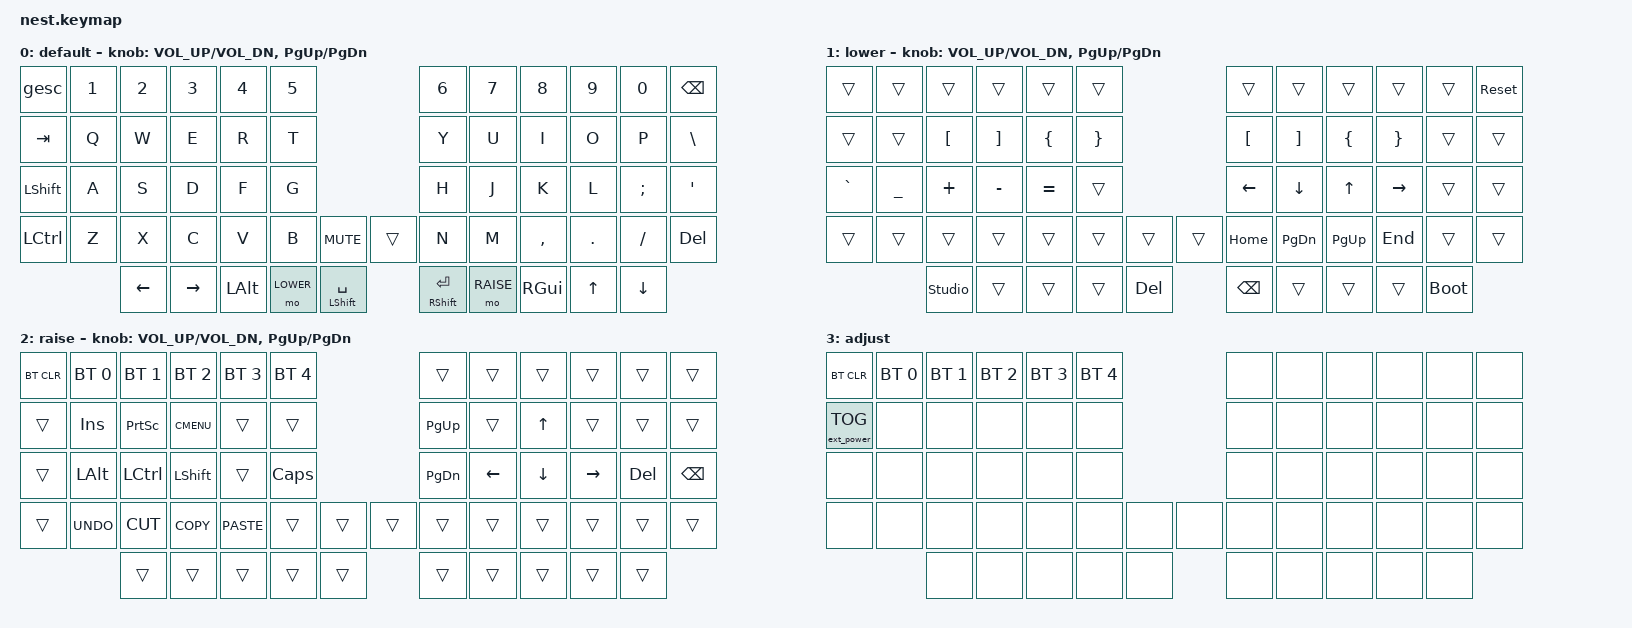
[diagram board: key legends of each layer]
/*
 * Copyright (c) 2020 The ZMK Contributors
 *
 * SPDX-License-Identifier: MIT
 */

#include <behaviors.dtsi>
#include <dt-bindings/zmk/keys.h>
#include <dt-bindings/zmk/bt.h>
#include <dt-bindings/zmk/rgb.h>
#include <dt-bindings/zmk/ext_power.h>

#define BASE 0
#define LOWER 1
#define RAISE 2
#define ADJUST 3

/ {
    behaviors {
        gesc: grave_escape {
            compatible = "zmk,behavior-mod-morph";
            #binding-cells = <0>;
            bindings = <&kp ESC>, <&kp GRAVE>;
            mods = <(MOD_LGUI|MOD_LSFT|MOD_RGUI|MOD_RSFT)>;
        };
    };

    // Activate ADJUST layer by pressing raise and lower
    conditional_layers {
        compatible = "zmk,conditional-layers";
        adjust_layer {
            if-layers = <LOWER RAISE>;
            then-layer = <ADJUST>;
        };
    };

    keymap {
        compatible = "zmk,keymap";

        default_layer {
            display-name = "default";
// ------------------------------------------------------------------------------------------------------------
// |  ESC  |  1  |  2  |  3   |  4   |  5   |                   |  6   |  7    |  8    |  9   |   0   | BKSPC |
// |  TAB  |  Q  |  W  |  E   |  R   |  T   |                   |  Y   |  U    |  I    |  O   |   P   |   \   |
// | SHIFT |  A  |  S  |  D   |  F   |  G   |                   |  H   |  J    |  K    |  L   |   ;   |   '   |
// | CTRL  |  Z  |  X  |  C   |  V   |  B   |  MUTE  |  |       |  N   |  M    |  ,    |  .   |   /   |  DEL  |
//               | LEFT| RIGHT| ALT  | LOWER|  SPACE |  | ENTER | RAISE|  GUI  |  UP   | DOWN |
            bindings = <
&gesc     &kp N1 &kp N2   &kp N3   &kp N4    &kp N5                           &kp N6 &kp N7    &kp N8    &kp N9   &kp N0   &kp BSPC
&kp TAB   &kp Q  &kp W    &kp E    &kp R     &kp T                            &kp Y  &kp U     &kp I     &kp O    &kp P    &kp BSLH
&kp LSHFT &kp A  &kp S    &kp D    &kp F     &kp G                            &kp H  &kp J     &kp K     &kp L    &kp SEMI &kp SQT
&kp LCTRL &kp Z  &kp X    &kp C    &kp V     &kp B      &kp C_MUTE &trans     &kp N  &kp M     &kp COMMA &kp DOT  &kp FSLH &kp DEL
                 &kp LEFT &kp RIGHT &kp LALT &mo LOWER  &mt LSHFT SPACE  &mt RSHFT RET  &mo RAISE  &kp RGUI &kp UP   &kp DOWN
            >;

            sensor-bindings = <&inc_dec_kp C_VOL_UP C_VOL_DN &inc_dec_kp PG_UP PG_DN>;
        };

        lower_layer {
            display-name = "lower";
// ------------------------------------------------------------------------------------------------------------
// |       |     |     |      |      |      |                   |      |       |       |      |       | RESET |
// |       |     |  [  |  ]   |  {   |  }   |                   |  [   |  ]    |  {    |  }   |       |       |
// |   `   |  _  |  +  |  -   |  =   |      |                   | LEFT | DOWN  |   UP  | RIGHT|       |       |
// |       |     |     |      |      |      |        |  |       | HOME | PGDN  | PGUP  |  END |       |       |
//               | LOCK|      |      |      |   DEL  |  | BKSPC |      |       |       | BOOT |
            bindings = <
&trans         &trans          &trans          &trans          &trans          &trans                             &trans          &trans          &trans   &trans    &trans &sys_reset
&trans         &trans          &kp LBKT        &kp RBKT        &kp LBRC        &kp RBRC                           &kp LBKT        &kp RBKT        &kp LBRC &kp RBRC  &trans &trans
&kp GRAVE      &kp UNDER       &kp PLUS        &kp MINUS       &kp EQUAL       &trans                             &kp LEFT        &kp DOWN        &kp UP   &kp RIGHT &trans &trans
&trans         &trans          &trans          &trans          &trans          &trans          &trans   &trans    &kp HOME        &kp PG_DN       &kp PG_UP &kp END  &trans &trans
                               &studio_unlock  &trans          &trans          &trans          &kp DEL  &kp BSPC  &trans          &trans          &trans   &bootloader
            >;

            sensor-bindings = <&inc_dec_kp C_VOL_UP C_VOL_DN &inc_dec_kp PG_UP PG_DN>;
        };

        raise_layer {
            display-name = "raise";
// ------------------------------------------------------------------------------------------------------------
// | BTCLR | BT1  | BT2  |  BT3  |  BT4  |  BT5 |                |      |      |       |      |       |       |
// |       | INS  | PSCR | GUI   |       |      |                | PGUP |      |   ^   |      |       |       |
// |       | ALT  | CTRL | SHIFT |       | CAPS |                | PGDN |   <- |   v   |  ->  |  DEL  | BKSPC |
// |       | UNDO | CUT  | COPY  | PASTE |      |      |  |      |      |      |       |      |       |       |
//                |      |       |       |      |      |  |      |      |      |       |      |
            bindings = <
&bt BT_CLR &bt BT_SEL 0 &bt BT_SEL 1 &bt BT_SEL 2 &bt BT_SEL 3 &bt BT_SEL 4                  &trans    &trans    &trans   &trans    &trans  &trans
&trans     &kp INS      &kp PSCRN    &kp K_CMENU  &trans       &trans                        &kp PG_UP &trans    &kp UP   &trans    &trans  &trans
&trans     &kp LALT     &kp LCTRL    &kp LSHFT    &trans       &kp CLCK                      &kp PG_DN &kp LEFT  &kp DOWN &kp RIGHT &kp DEL &kp BSPC
&trans     &kp K_UNDO   &kp K_CUT    &kp K_COPY   &kp K_PASTE  &trans        &trans  &trans  &trans    &trans    &trans   &trans    &trans  &trans
                        &trans       &trans       &trans       &trans        &trans  &trans  &trans    &trans    &trans   &trans
            >;

            sensor-bindings = <&inc_dec_kp C_VOL_UP C_VOL_DN &inc_dec_kp PG_UP PG_DN>;
        };

        adjust_layer {
// ----------------------------------------------------------------------------------------------------------------------------
// | BTCLR  |  BT1    |  BT2    |   BT3   |   BT4   |   BT5   |                  |      |      |       |      |       |       |
// | EXTPWR |         |         |         |         |         |                  |      |      |       |      |       |       |
// |        |         |         |         |         |         |                  |      |      |       |      |       |       |
// |        |         |         |         |         |         |          | |      |      |      |       |      |       |       |
//                    |         |         |         |         |         | |      |      |      |       |      |
            display-name = "adjust";
            bindings = <
&bt BT_CLR        &bt BT_SEL 0    &bt BT_SEL 1    &bt BT_SEL 2    &bt BT_SEL 3    &bt BT_SEL 4                            &none &none &none &none &none &none
&ext_power EP_TOG &none           &none           &none           &none           &none                                   &none &none &none &none &none &none
&none             &none           &none           &none           &none           &none                                   &none &none &none &none &none &none
&none             &none           &none           &none           &none           &none            &none           &none  &none &none &none &none &none &none
                                  &none           &none           &none           &none            &none           &none  &none &none &none &none
            >;
        };

    };
};
